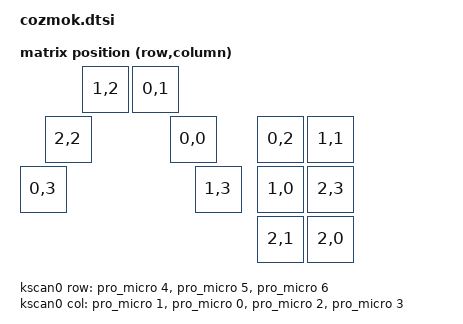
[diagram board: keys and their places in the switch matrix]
#include <dt-bindings/zmk/matrix_transform.h>
#include <physical_layouts.dtsi>

/ {
  chosen {
    zmk,physical-layout = &cozmok_physical_layout;
  };

  cozmok_physical_layout: cozmok_physical_layout {
      compatible = "zmk,physical-layout";
      display-name = "Default";
      transform = <&default_transform>;
      kscan = <&kscan0>;

      keys  //                     w   h    x    y     rot    rx    ry
          = 
            <&key_physical_attrs 100 100    0  200       0     0     0>
          , <&key_physical_attrs 100 100   50  100       0     0     0>
          , <&key_physical_attrs 100 100  125    0       0     0     0>
          , <&key_physical_attrs 100 100  225    0       0     0     0>
          , <&key_physical_attrs 100 100  300  100       0     0     0>
          , <&key_physical_attrs 100 100  350  200       0     0     0>
          , <&key_physical_attrs 100 100  475  100       0     0     0>
          , <&key_physical_attrs 100 100  575  100       0     0     0>
          , <&key_physical_attrs 100 100  475  200       0     0     0>
          , <&key_physical_attrs 100 100  575  200       0     0     0>
          , <&key_physical_attrs 100 100  475  300       0     0     0>
          , <&key_physical_attrs 100 100  575  300       0     0     0>
          ;
    };
    
    default_transform: keymap_transform_0 {
      compatible = "zmk,matrix-transform";
      columns = <4>;
      rows = <3>;

      map = <
          RC(0,3) RC(2,2) RC(1,2)  RC(0,1) RC(0,0)
          RC(1,3)         RC(0,2)  RC(1,1) RC(1,0)
          RC(2,3)                  RC(2,1) RC(2,0)
        >;
    };
 
    kscan0: kscan_0 {
        compatible = "zmk,kscan-gpio-matrix";
        wakeup-source;
        diode-direction = "col2row";
        col-gpios
            = <&pro_micro 1 GPIO_ACTIVE_HIGH>
            , <&pro_micro 0 GPIO_ACTIVE_HIGH>
            , <&pro_micro 2 GPIO_ACTIVE_HIGH>
            , <&pro_micro 3 GPIO_ACTIVE_HIGH>
            ;
        row-gpios
            = <&pro_micro 4 (GPIO_ACTIVE_HIGH | GPIO_PULL_DOWN)>
            , <&pro_micro 5 (GPIO_ACTIVE_HIGH | GPIO_PULL_DOWN)>
            , <&pro_micro 6 (GPIO_ACTIVE_HIGH | GPIO_PULL_DOWN)>
            ;
    };
};
